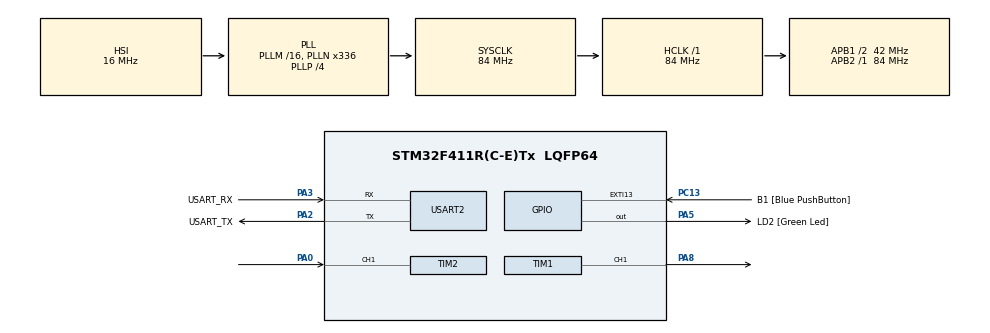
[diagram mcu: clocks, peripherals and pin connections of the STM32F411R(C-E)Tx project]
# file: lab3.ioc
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Dma.Request0=TIM2_CH1
Dma.TIM2_CH1.0.Direction=DMA_PERIPH_TO_MEMORY
Dma.TIM2_CH1.0.FIFOMode=DMA_FIFOMODE_DISABLE
Dma.TIM2_CH1.0.Instance=DMA1_Stream5
Dma.TIM2_CH1.0.MemDataAlignment=DMA_MDATAALIGN_WORD
Dma.TIM2_CH1.0.MemInc=DMA_MINC_ENABLE
Dma.TIM2_CH1.0.Mode=DMA_CIRCULAR
Dma.TIM2_CH1.0.PeriphDataAlignment=DMA_PDATAALIGN_WORD
Dma.TIM2_CH1.0.PeriphInc=DMA_PINC_DISABLE
Dma.TIM2_CH1.0.Priority=DMA_PRIORITY_LOW
Mcu.Family=STM32F4
Mcu.Name=STM32F411R(C-E)Tx
Mcu.Package=LQFP64
NVIC.DMA1_Stream5_IRQn=true\:0\:0\:false\:false\:true\:false\:true\:true
NVIC.PriorityGroup=NVIC_PRIORITYGROUP_0
PA0-WKUP.Signal=S_TIM2_CH1_ETR
PA13.GPIO_Label=TMS
PA13.Mode=Serial_Wire
PA13.Signal=SYS_JTMS-SWDIO
PA14.GPIO_Label=TCK
PA14.Mode=Serial_Wire
PA14.Signal=SYS_JTCK-SWCLK
PA2.GPIO_Label=USART_TX
PA2.Mode=Asynchronous
PA2.Signal=USART2_TX
PA3.GPIO_Label=USART_RX
PA3.Mode=Asynchronous
PA3.Signal=USART2_RX
PA5.GPIO_Label=LD2 [Green Led]
PA5.Signal=GPIO_Output
PA8.Signal=S_TIM1_CH1
PB3.GPIO_Label=SWO
PB3.Signal=SYS_JTDO-SWO
PC13-ANTI_TAMP.GPIO_Label=B1 [Blue PushButton]
PC13-ANTI_TAMP.GPIO_ModeDefaultEXTI=GPIO_MODE_IT_FALLING
PC13-ANTI_TAMP.Signal=GPXTI13
PC14-OSC32_IN.Mode=LSE-External-Oscillator
PC14-OSC32_IN.Signal=RCC_OSC32_IN
PC15-OSC32_OUT.Mode=LSE-External-Oscillator
PC15-OSC32_OUT.Signal=RCC_OSC32_OUT
PH0\ -\ OSC_IN.Mode=HSE-External-Clock-Source
PH0\ -\ OSC_IN.Signal=RCC_OSC_IN
PH1\ -\ OSC_OUT.Mode=HSE-External-Clock-Source
PH1\ -\ OSC_OUT.Signal=RCC_OSC_OUT
ProjectManager.HeapSize=0x200
ProjectManager.StackSize=0x400
ProjectManager.TargetToolchain=STM32CubeIDE
RCC.48MHZClocksFreq_Value=84000000
RCC.AHBFreq_Value=84000000
RCC.APB1CLKDivider=RCC_HCLK_DIV2
RCC.APB1Freq_Value=42000000
RCC.APB1TimFreq_Value=84000000
RCC.APB2Freq_Value=84000000
RCC.APB2TimFreq_Value=84000000
RCC.CortexFreq_Value=84000000
RCC.FLatency-AdvancedSettings=FLASH_LATENCY_2
RCC.HCLKFreq_Value=84000000
RCC.HSE_VALUE=8000000
RCC.HSI_VALUE=16000000
RCC.PLLN=336
RCC.PLLP=RCC_PLLP_DIV4
RCC.SYSCLKFreq_VALUE=84000000
RCC.SYSCLKSource=RCC_SYSCLKSOURCE_PLLCLK
RCC.VCOOutputFreq_Value=336000000
SH.S_TIM1_CH1.0=TIM1_CH1,PWM Generation1 CH1
SH.S_TIM2_CH1_ETR.0=TIM2_CH1,Input_Capture1_from_TI1
TIM1.Channel-PWM\ Generation1\ CH1=TIM_CHANNEL_1
TIM1.Period=9999
TIM1.Prescaler=83
TIM1.Pulse-PWM\ Generation1\ CH1=500
TIM2.Channel-Input_Capture1_from_TI1=TIM_CHANNEL_1
TIM2.Period=4294967295
TIM2.Prescaler=83
USART2.VirtualMode=VM_ASYNC
VP_TIM1_VS_ClockSourceINT.Mode=Internal
VP_TIM2_VS_ClockSourceINT.Mode=Internal
board=NUCLEO-F411RE

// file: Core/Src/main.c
/* USER CODE BEGIN Header */
/**
  ******************************************************************************
  * @file           : main.c
  * @brief          : Main program body
  ******************************************************************************
  * @attention
  *
  * Copyright (c) 2023 STMicroelectronics.
  * All rights reserved.
  *
  * This software is licensed under terms that can be found in the LICENSE file
  * in the root directory of this software component.
  * If no LICENSE file comes with this software, it is provided AS-IS.
  *
  ******************************************************************************
  */
/* USER CODE END Header */
#include "main.h"

/* USER CODE BEGIN Includes */
#define IC_BUFFER_SIZE 6
/* USER CODE END Includes */

TIM_HandleTypeDef htim1;
TIM_HandleTypeDef htim2;
DMA_HandleTypeDef hdma_tim2_ch1;

UART_HandleTypeDef huart2;

/* USER CODE BEGIN PV */
uint32_t InputCaptureBuffer[IC_BUFFER_SIZE];
float averageRisingedgePeriod;
float one_period__motor;
float duty = 500;
float MotorReadRPM;
uint32_t MotorSetDuty = 50;
uint32_t test;
uint8_t MotorControlEnable = 1;
uint8_t MotorSetRPM = 50 ;
/* USER CODE END PV */

void SystemClock_Config(void);
static void MX_GPIO_Init(void);
static void MX_DMA_Init(void);
static void MX_USART2_UART_Init(void);
static void MX_TIM2_Init(void);
static void MX_TIM1_Init(void);
/* USER CODE BEGIN PFP */
float IC_Calc_Period();
/* USER CODE END PFP */

int main(void)
{

  /* MCU Configuration--------------------------------------------------------*/

  /* Reset of all peripherals, I
   *
   * nitializes the Flash interface and the Systick. */

+	HAL_Init();

  /* Configure the system clock */
  SystemClock_Config();

  /* Initialize all configured peripherals */
  MX_GPIO_Init();
  MX_DMA_Init();
  MX_USART2_UART_Init();
  MX_TIM2_Init();
  MX_TIM1_Init();
  /* USER CODE BEGIN 2 */
HAL_TIM_Base_Start(&htim1);
HAL_TIM_PWM_Start(&htim1, TIM_CHANNEL_1);

HAL_TIM_Base_Start(&htim2);
HAL_TIM_IC_Start_DMA(&htim2, TIM_CHANNEL_1, InputCaptureBuffer, IC_BUFFER_SIZE);

  /* USER CODE END 2 */

  /* Infinite loop */
  while (1)
  {

    /* USER CODE BEGIN 3 */
	  duty = ((MotorSetDuty/100.0)*10000);

	  static uint32_t timestamp = 0;

	  if(HAL_GetTick()>= timestamp){
		  if(MotorControlEnable == 1 ){
			  if(MotorSetRPM < MotorReadRPM){
				  MotorSetDuty -= 1;
			  }
			  else if((MotorSetRPM > MotorReadRPM)&&(MotorSetDuty <100)){
				  MotorSetDuty += 1;
			  }
		  }
		  else if(MotorControlEnable == 0){
			  duty = 0;
		  }

		  timestamp = HAL_GetTick()+100;

		  averageRisingedgePeriod = IC_Calc_Period();
		  one_period__motor = (averageRisingedgePeriod *12*64)/(1000000.0);
		  MotorReadRPM = (1/one_period__motor)*60;

		  __HAL_TIM_SET_COMPARE(&htim1,TIM_CHANNEL_1,duty);

	  }
  }
  /* USER CODE END 3 */
}

void SystemClock_Config(void)
{
  RCC_OscInitTypeDef RCC_OscInitStruct = {0};
  RCC_ClkInitTypeDef RCC_ClkInitStruct = {0};

  /** Configure the main internal regulator output voltage
  */
  __HAL_RCC_PWR_CLK_ENABLE();
  __HAL_PWR_VOLTAGESCALING_CONFIG(PWR_REGULATOR_VOLTAGE_SCALE1);

  /** Initializes the RCC Oscillators according to the specified parameters
  * in the RCC_OscInitTypeDef structure.
  */
  RCC_OscInitStruct.OscillatorType = RCC_OSCILLATORTYPE_HSI;
  RCC_OscInitStruct.HSIState = RCC_HSI_ON;
  RCC_OscInitStruct.HSICalibrationValue = RCC_HSICALIBRATION_DEFAULT;
  RCC_OscInitStruct.PLL.PLLState = RCC_PLL_ON;
  RCC_OscInitStruct.PLL.PLLSource = RCC_PLLSOURCE_HSI;
  RCC_OscInitStruct.PLL.PLLM = 16;
  RCC_OscInitStruct.PLL.PLLN = 336;
  RCC_OscInitStruct.PLL.PLLP = RCC_PLLP_DIV4;
  RCC_OscInitStruct.PLL.PLLQ = 4;
  if (HAL_RCC_OscConfig(&RCC_OscInitStruct) != HAL_OK)
  {
    Error_Handler();
  }

  /** Initializes the CPU, AHB and APB buses clocks
  */
  RCC_ClkInitStruct.ClockType = RCC_CLOCKTYPE_HCLK|RCC_CLOCKTYPE_SYSCLK
                              |RCC_CLOCKTYPE_PCLK1|RCC_CLOCKTYPE_PCLK2;
  RCC_ClkInitStruct.SYSCLKSource = RCC_SYSCLKSOURCE_PLLCLK;
  RCC_ClkInitStruct.AHBCLKDivider = RCC_SYSCLK_DIV1;
  RCC_ClkInitStruct.APB1CLKDivider = RCC_HCLK_DIV2;
  RCC_ClkInitStruct.APB2CLKDivider = RCC_HCLK_DIV1;

  if (HAL_RCC_ClockConfig(&RCC_ClkInitStruct, FLASH_LATENCY_2) != HAL_OK)
  {
    Error_Handler();
  }
}

static void MX_TIM1_Init(void)
{

  TIM_ClockConfigTypeDef sClockSourceConfig = {0};
  TIM_MasterConfigTypeDef sMasterConfig = {0};
  TIM_OC_InitTypeDef sConfigOC = {0};
  TIM_BreakDeadTimeConfigTypeDef sBreakDeadTimeConfig = {0};

  htim1.Instance = TIM1;
  htim1.Init.Prescaler = 83;
  htim1.Init.CounterMode = TIM_COUNTERMODE_UP;
  htim1.Init.Period = 9999;
  htim1.Init.ClockDivision = TIM_CLOCKDIVISION_DIV1;
  htim1.Init.RepetitionCounter = 0;
  htim1.Init.AutoReloadPreload = TIM_AUTORELOAD_PRELOAD_DISABLE;
  if (HAL_TIM_Base_Init(&htim1) != HAL_OK)
  {
    Error_Handler();
  }
  sClockSourceConfig.ClockSource = TIM_CLOCKSOURCE_INTERNAL;
  if (HAL_TIM_ConfigClockSource(&htim1, &sClockSourceConfig) != HAL_OK)
  {
    Error_Handler();
  }
  if (HAL_TIM_PWM_Init(&htim1) != HAL_OK)
  {
    Error_Handler();
  }
  sMasterConfig.MasterOutputTrigger = TIM_TRGO_RESET;
  sMasterConfig.MasterSlaveMode = TIM_MASTERSLAVEMODE_DISABLE;
  if (HAL_TIMEx_MasterConfigSynchronization(&htim1, &sMasterConfig) != HAL_OK)
  {
    Error_Handler();
  }
  sConfigOC.OCMode = TIM_OCMODE_PWM1;
  sConfigOC.Pulse = 500;
  sConfigOC.OCPolarity = TIM_OCPOLARITY_HIGH;
  sConfigOC.OCNPolarity = TIM_OCNPOLARITY_HIGH;
  sConfigOC.OCFastMode = TIM_OCFAST_DISABLE;
  sConfigOC.OCIdleState = TIM_OCIDLESTATE_RESET;
  sConfigOC.OCNIdleState = TIM_OCNIDLESTATE_RESET;
  if (HAL_TIM_PWM_ConfigChannel(&htim1, &sConfigOC, TIM_CHANNEL_1) != HAL_OK)
  {
    Error_Handler();
  }
  sBreakDeadTimeConfig.OffStateRunMode = TIM_OSSR_DISABLE;
  sBreakDeadTimeConfig.OffStateIDLEMode = TIM_OSSI_DISABLE;
  sBreakDeadTimeConfig.LockLevel = TIM_LOCKLEVEL_OFF;
  sBreakDeadTimeConfig.DeadTime = 0;
  sBreakDeadTimeConfig.BreakState = TIM_BREAK_DISABLE;
  sBreakDeadTimeConfig.BreakPolarity = TIM_BREAKPOLARITY_HIGH;
  sBreakDeadTimeConfig.AutomaticOutput = TIM_AUTOMATICOUTPUT_DISABLE;
  if (HAL_TIMEx_ConfigBreakDeadTime(&htim1, &sBreakDeadTimeConfig) != HAL_OK)
  {
    Error_Handler();
  }
  HAL_TIM_MspPostInit(&htim1);

}

static void MX_TIM2_Init(void)
{

  TIM_ClockConfigTypeDef sClockSourceConfig = {0};
  TIM_MasterConfigTypeDef sMasterConfig = {0};
  TIM_IC_InitTypeDef sConfigIC = {0};

  htim2.Instance = TIM2;
  htim2.Init.Prescaler = 83;
  htim2.Init.CounterMode = TIM_COUNTERMODE_UP;
  htim2.Init.Period = 4294967295;
  htim2.Init.ClockDivision = TIM_CLOCKDIVISION_DIV1;
  htim2.Init.AutoReloadPreload = TIM_AUTORELOAD_PRELOAD_DISABLE;
  if (HAL_TIM_Base_Init(&htim2) != HAL_OK)
  {
    Error_Handler();
  }
  sClockSourceConfig.ClockSource = TIM_CLOCKSOURCE_INTERNAL;
  if (HAL_TIM_ConfigClockSource(&htim2, &sClockSourceConfig) != HAL_OK)
  {
    Error_Handler();
  }
  if (HAL_TIM_IC_Init(&htim2) != HAL_OK)
  {
    Error_Handler();
  }
  sMasterConfig.MasterOutputTrigger = TIM_TRGO_RESET;
  sMasterConfig.MasterSlaveMode = TIM_MASTERSLAVEMODE_DISABLE;
  if (HAL_TIMEx_MasterConfigSynchronization(&htim2, &sMasterConfig) != HAL_OK)
  {
    Error_Handler();
  }
  sConfigIC.ICPolarity = TIM_INPUTCHANNELPOLARITY_RISING;
  sConfigIC.ICSelection = TIM_ICSELECTION_DIRECTTI;
  sConfigIC.ICPrescaler = TIM_ICPSC_DIV1;
  sConfigIC.ICFilter = 0;
  if (HAL_TIM_IC_ConfigChannel(&htim2, &sConfigIC, TIM_CHANNEL_1) != HAL_OK)
  {
    Error_Handler();
  }

}

static void MX_USART2_UART_Init(void)
{

  huart2.Instance = USART2;
  huart2.Init.BaudRate = 115200;
  huart2.Init.WordLength = UART_WORDLENGTH_8B;
  huart2.Init.StopBits = UART_STOPBITS_1;
  huart2.Init.Parity = UART_PARITY_NONE;
  huart2.Init.Mode = UART_MODE_TX_RX;
  huart2.Init.HwFlowCtl = UART_HWCONTROL_NONE;
  huart2.Init.OverSampling = UART_OVERSAMPLING_16;
  if (HAL_UART_Init(&huart2) != HAL_OK)
  {
    Error_Handler();
  }

}

static void MX_DMA_Init(void)
{

  /* DMA controller clock enable */
  __HAL_RCC_DMA1_CLK_ENABLE();

  /* DMA interrupt init */
  /* DMA1_Stream5_IRQn interrupt configuration */
  HAL_NVIC_SetPriority(DMA1_Stream5_IRQn, 0, 0);
  HAL_NVIC_EnableIRQ(DMA1_Stream5_IRQn);

}

static void MX_GPIO_Init(void)
{
  GPIO_InitTypeDef GPIO_InitStruct = {0};

  /* GPIO Ports Clock Enable */
  __HAL_RCC_GPIOC_CLK_ENABLE();
  __HAL_RCC_GPIOH_CLK_ENABLE();
  __HAL_RCC_GPIOA_CLK_ENABLE();
  __HAL_RCC_GPIOB_CLK_ENABLE();

  /*Configure GPIO pin Output Level */
  HAL_GPIO_WritePin(LD2_GPIO_Port, LD2_Pin, GPIO_PIN_RESET);

  /*Configure GPIO pin : B1_Pin */
  GPIO_InitStruct.Pin = B1_Pin;
  GPIO_InitStruct.Mode = GPIO_MODE_IT_FALLING;
  GPIO_InitStruct.Pull = GPIO_NOPULL;
  HAL_GPIO_Init(B1_GPIO_Port, &GPIO_InitStruct);

  /*Configure GPIO pin : LD2_Pin */
  GPIO_InitStruct.Pin = LD2_Pin;
  GPIO_InitStruct.Mode = GPIO_MODE_OUTPUT_PP;
  GPIO_InitStruct.Pull = GPIO_NOPULL;
  GPIO_InitStruct.Speed = GPIO_SPEED_FREQ_LOW;
  HAL_GPIO_Init(LD2_GPIO_Port, &GPIO_InitStruct);

}

/* USER CODE BEGIN 4 */
float IC_Calc_Period(){
	uint32_t currentDMAPointer = IC_BUFFER_SIZE - __HAL_DMA_GET_COUNTER(htim2.hdma[1]);
	uint32_t lastValidDMAPointer = (currentDMAPointer-1 + IC_BUFFER_SIZE)% IC_BUFFER_SIZE;
	uint32_t i = (lastValidDMAPointer + IC_BUFFER_SIZE -5)% IC_BUFFER_SIZE;
	int32_t sumdiff = 0;

	while( i != lastValidDMAPointer)
	{
		uint32_t firstCapture = InputCaptureBuffer[i];
		uint32_t NextCapture = InputCaptureBuffer[(i+1)%IC_BUFFER_SIZE];
		sumdiff += NextCapture - firstCapture;
		i = (i+1)% IC_BUFFER_SIZE;
	}
	return sumdiff/5.0;
}

/* USER CODE END 4 */

void Error_Handler(void)
{
  __disable_irq();
  while (1)
  {
  }
}
